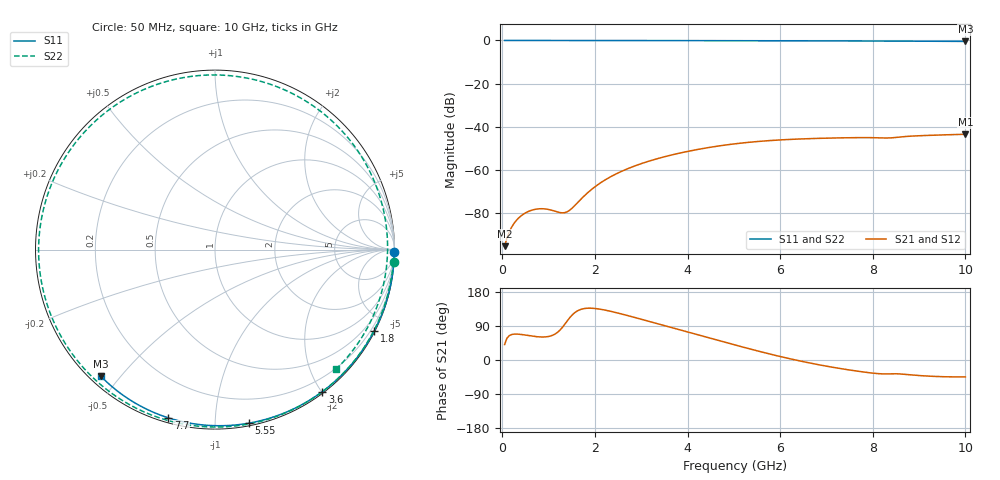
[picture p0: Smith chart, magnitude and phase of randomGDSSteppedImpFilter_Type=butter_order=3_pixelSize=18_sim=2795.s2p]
! freq	dB(S11)	phase(S11)	dB(S12)	phase(S12)
!  dB(S21)	phase(S21)	dB(S22)	phase(S22)
!S-par simulation data
#  GHz  S  DB  R 50
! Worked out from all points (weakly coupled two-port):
!   200 points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, 50 MHz to 10 GHz, reference 50 ohm
!   highest |S21| = -43.44 dB at 10 GHz (marker M1); lowest = -95.2 dB at 50 MHz (marker M2)
!   lowest |S11| = -0.4 dB at 10 GHz (marker M3), VSWR 38.88, Z = 1.54 - j22.2 ohm
!   |S11| at or under -10 dB: nowhere
!   |S22| runs from -0.5 to 0.0 dB; largest |S21 - S12| = 0
!   S11 on the Smith chart (normalised r, x): 50 MHz: open; 1.8 GHz: 0.04, -4.15; 3.6 GHz: 0.02, -2.01; 5.55 GHz: 0.02, -1.21; 7.7 GHz: 0.02, -0.76; 10 GHz: 0.03, -0.44
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0.05  -0.01 -0.7  -95.25 40.7  -95.25 40.7  -0.03 -3.9
0.45  -0.01 -6.8  -80.51 66.7  -80.51 66.7  -0.06 -33.4
0.9  -0.02 -13.6  -77.95 60.7  -77.95 60.7  -0.08 -64.5
1.35  -0.03 -20.4  -79.71 94.4  -79.71 94.4  -0.10 -92.1
1.5  -0.03 -22.6  -77.79 117.7  -77.79 117.7  -0.11 -100.5
1.75  -0.03 -26.3  -72.38 135.3  -72.38 135.3  -0.11 -113.7
1.8  -0.03 -27.1  -71.36 136.3  -71.36 136.3  -0.12 -116.2
2.15  -0.04 -32.2  -65.52 133.3  -65.52 133.3  -0.13 -132.9
2.55  -0.05 -38.0  -60.85 122.3  -60.85 122.3  -0.13 -150.2
2.95  -0.06 -43.8  -57.41 109.2  -57.41 109.2  -0.14 -166.0
3.4  -0.07 -50.1  -54.43 94.2  -54.43 94.2  -0.15 177.3
3.6  -0.07 -52.9  -53.32 87.4  -53.32 87.4  -0.16 170.2
4.3  -0.09 -62.5  -50.15 63.9  -50.15 63.9  -0.18 146.2
5.05  -0.11 -72.5  -47.79 38.8  -47.79 38.8  -0.20 121.2
5.55  -0.13 -79.0  -46.72 22.8  -46.72 22.8  -0.22 104.6
6.15  -0.15 -86.7  -45.88 5.0  -45.88 5.0  -0.24 84.4
6.7  -0.18 -93.5  -45.41 -9.4  -45.41 -9.4  -0.26 65.7
7.2  -0.21 -99.6  -45.14 -20.5  -45.14 -20.5  -0.28 48.6
7.7  -0.24 -105.5  -44.99 -30.0  -44.99 -30.0  -0.29 31.4
8.35  -0.29 -113.2  -45.15 -36.6  -45.15 -36.6  -0.32 9.4
9.15  -0.36 -122.4  -43.99 -42.2  -43.99 -42.2  -0.38 -17.1
10  -0.45 -132.0  -43.44 -44.6  -43.44 -44.6  -0.47 -44.8
